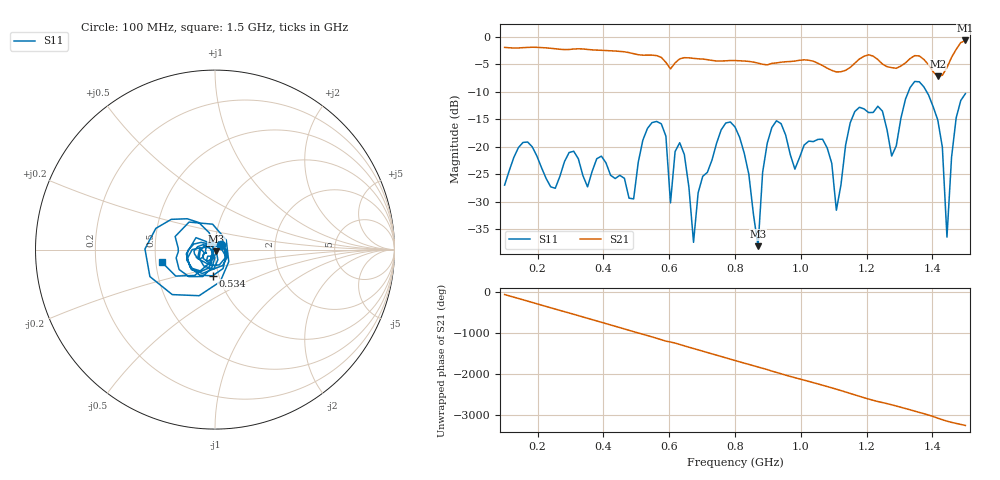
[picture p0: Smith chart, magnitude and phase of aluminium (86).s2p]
! NanoVNA-App
! Date: 2025-09-26 09:58:44
! Start: 100MHz Stop: 1,5GHz Points: 101
! S-Parameter data: F S11 S21 S12 S22
# Hz S RI R 50
!  Frequency  S11_Real  S11_Imag  S21_Real  S21_Imag  S12_Real  S12_Imag  S22_Real  S22_Imag
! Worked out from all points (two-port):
!   101 points, 100 MHz to 1.5 GHz, reference 50 ohm
!   highest |S21| = -0.65 dB at 1.5 GHz (marker M1); lowest = -7.2 dB at 1.416 GHz (marker M2)
!   |S21| within 3 dB of the highest: start of sweep to 572.6 MHz; 1.189 GHz to 1.223 GHz (34.64 MHz wide, 2.87 % of centre) (the widest 2 of 4)
!   lowest |S11| = -38.1 dB at 870 MHz (marker M3), VSWR 1.03, Z = 50.7 - j1.05 ohm
!   |S11| at or under -10 dB: start of sweep to 1.327 GHz; 1.383 GHz to end of sweep
!   S12 and S22 are empty: the file has one direction only
!   S11 on the Smith chart (normalised r, x): 100 MHz: 1.07, +0.06; 534 MHz: 0.93, -0.28; 1.5 GHz: 0.54, -0.08
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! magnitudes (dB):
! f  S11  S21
! 100 MHz  -27.0  -1.9
! 156 MHz  -19.2  -2.0
! 338 MHz  -25.3  -2.2
! 492 MHz  -29.5  -3.1
! 534 MHz  -16.7  -3.3
! 576 MHz  -15.8  -3.7
! 604 MHz  -30.2  -5.8
! 646 MHz  -21.4  -3.8
! 674 MHz  -37.4  -3.9
! 702 MHz  -25.4  -4.0
! 800 MHz  -16.4  -4.3
! 870 MHz  -38.1  -4.8
! 912 MHz  -16.5  -4.8
! 1.038 GHz  -19.1  -4.4
! 1.108 GHz  -31.6  -6.4
! 1.164 GHz  -13.6  -4.8
! 1.276 GHz  -21.7  -5.6
! 1.346 GHz  -8.1  -3.4
! 1.416 GHz  -15.1  -7.2
! 1.444 GHz  -36.4  -5.6
! 1.472 GHz  -14.7  -2.3
! 1.5 GHz  -10.3  -0.7
